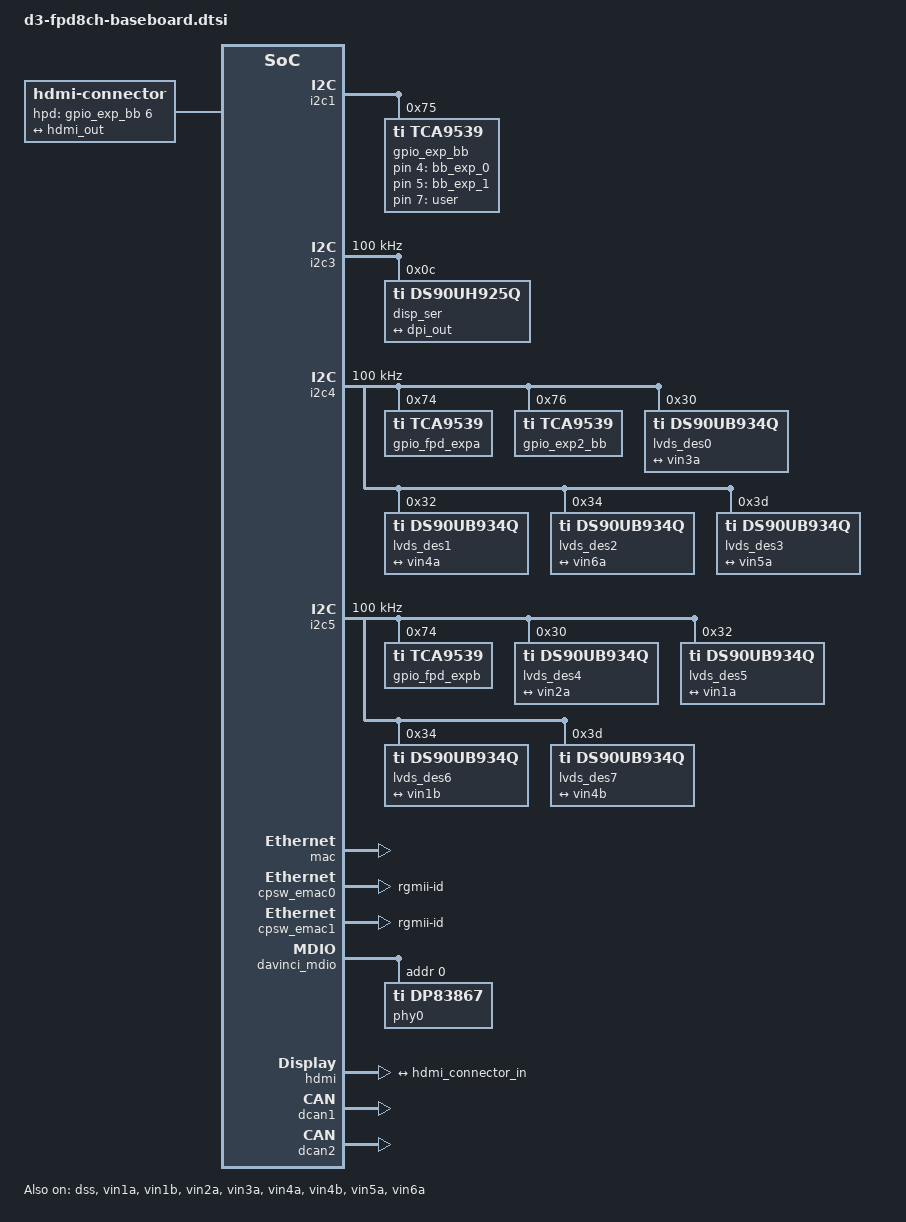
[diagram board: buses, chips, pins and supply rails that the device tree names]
/*
 * Copyright (C) 2016 D3 Engineering
 *
 * Based on am571x-idk.dts
 * Copyright (C) 2015 Texas Instruments Incorporated
 *
 * This program is free software; you can redistribute it and/or modify
 * it under the terms of the GNU General Public License version 2 as
 * published by the Free Software Foundation.
 */

#include <dt-bindings/gpio/gpio.h>
#include <dt-bindings/interrupt-controller/irq.h>
#include <dt-bindings/net/ti-dp83867.h>

/ {
	aliases {
		i2c11 = &lvds_des0;
		i2c12 = &lvds_des1;
		i2c13 = &lvds_des2;
		i2c14 = &lvds_des3;
		i2c15 = &lvds_des4;
		i2c16 = &lvds_des5;
		i2c17 = &lvds_des6;
		i2c18 = &lvds_des7;
		i2c19 = &disp_ser;
	};

	hdmi0: connector@1 {
		compatible = "hdmi-connector";
		label = "hdmi";
		type = "c";
		hpd-gpios = <&gpio_exp_bb 6 GPIO_ACTIVE_HIGH>;

		port {
			hdmi_connector_in: endpoint {
				remote-endpoint = <&hdmi_out>;
			};
		};
	};

	leds {
		compatible = "gpio-leds";
		led_bb_exp_0: led@1 {
			label = "bb_exp_0";
			default-state = "off";
			gpios = <&gpio_exp_bb 4 GPIO_ACTIVE_HIGH>;
		};
		led_bb_exp_1: led@2 {
			label = "bb_exp_1";
			default-state = "off";
			gpios = <&gpio_exp_bb 5 GPIO_ACTIVE_HIGH>;
		};
		led_user: led@3 {
			label = "user";
			default-state = "off";
			gpios = <&gpio_exp_bb 7 GPIO_ACTIVE_HIGH>;
		};
	};
};

&i2c1 {
	gpio_exp_bb: tca9539@75 {
		compatible = "ti,tca9539";
		reg = <0x75>;
		gpio-controller;
		#gpio-cells = <2>;
	};
};

&i2c3 {
	status = "okay";
	clock-frequency = <100000>;

	disp_ser: serializer@0c {
		compatible = "ti,ds90uh925q";
		reg = <0x0c>;

		#address-cells = <1>;
		#size-cells = <0>;	
	};
};

&i2c4 {
	status = "okay";
	clock-frequency = <100000>;

	gpio_fpd_expa: tca9539@74 {
		compatible = "ti,tca9539";
		reg = <0x74>;
		gpio-controller;
		#gpio-cells = <2>;
	};

	gpio_exp2_bb: tca9539@76 {
		compatible = "ti,tca9539";
		reg = <0x76>;
		gpio-controller;
		#gpio-cells = <2>;
	};

	lvds_des0: deserializer@30 {
		compatible = "ti,ds90ub934q";
		reg = <0x30>;

		#address-cells = <1>;
		#size-cells = <0>;
	};

	lvds_des1: deserializer@32 {
		compatible = "ti,ds90ub934q";
		reg = <0x32>;

		#address-cells = <1>;
		#size-cells = <0>;
	};

	lvds_des2: deserializer@34 {
		compatible = "ti,ds90ub934q";
		reg = <0x34>;

		#address-cells = <1>;
		#size-cells = <0>;
	};

	lvds_des3: deserializer@3D {
		compatible = "ti,ds90ub934q";
		reg = <0x3D>;

		#address-cells = <1>;
		#size-cells = <0>;
	};
};

&i2c5 {
	status = "okay";
	clock-frequency = <100000>;

	gpio_fpd_expb: tca9539@74 {
		compatible = "ti,tca9539";
		reg = <0x74>;
		gpio-controller;
		#gpio-cells = <2>;
	};

	lvds_des4: deserializer@30 {
		compatible = "ti,ds90ub934q";
		reg = <0x30>;

		#address-cells = <1>;
		#size-cells = <0>;
	};

	lvds_des5: deserializer@32 {
		compatible = "ti,ds90ub934q";
		reg = <0x32>;

		#address-cells = <1>;
		#size-cells = <0>;
	};

	lvds_des6: deserializer@34 {
		compatible = "ti,ds90ub934q";
		reg = <0x34>;

		#address-cells = <1>;
		#size-cells = <0>;
	};

	lvds_des7: deserializer@3D {
		compatible = "ti,ds90ub934q";
		reg = <0x3D>;

		#address-cells = <1>;
		#size-cells = <0>;
	};
};

&mac {
	status = "okay";
	slaves = <2>;
	active_slave = <1>;
	ti,no-idle;
};

/* cpsw_emac0 needs to be specified because the cpsw driver
   indexes which rgmii to use based on slaves attribute of mac,
   so we need a dummy entry for slave0. */
&cpsw_emac0 {
	phy_id = <&davinci_mdio>, <2>;
	phy-mode = "rgmii-id";
};

&cpsw_emac1 {
	phy_id = <&davinci_mdio>, <0>;
	phy-mode = "rgmii-id";
};

&davinci_mdio {
	status = "okay";

	phy0: dp83867@0 {
		compatible = "ti,dp83867";
		reg = <0x0>;
		ti,rx-internal-delay = <DP83867_RGMIIDCTL_750_PS>;
		ti,tx-internal-delay = <DP83867_RGMIIDCTL_750_PS>;
		ti,fifo-depth = <DP83867_PHYCR_FIFO_DEPTH_4_B_NIB>;
	};
};

&dss {
	status = "okay";

	vdda_video-supply = <&ldoln_reg>;

	port {
		dpi_out: endpoint {
			remote-endpoint = <&fpd_in>;
			data-lines = <24>;
		};
	};
};

&hdmi {
	status = "okay";
	vdda-supply = <&ldo3_reg>;

	port {
		hdmi_out: endpoint {
			remote-endpoint = <&hdmi_connector_in>;
			lanes = <1 0 3 2 5 4 7 6>;
		};
	};
};

&disp_ser {
	ranges = <0x2c 0x2c>;

	disp_des: deserializer@2c {
		compatible = "ti,ds90uh928q";
		reg = <0x2c>;

		gpio-controller;
		#gpio-cells = <1>;

		slave-mode;
	};

	fpd_disp: display@0 {
		compatible = "panel-dpi";

		port {
			fpd_in: endpoint {
				remote-endpoint = <&dpi_out>;
			};
		};

		panel-timing {
			clock-frequency = <9200000>;
			hactive = <480>;
			vactive = <272>;
			hfront-porch = <8>;
			hback-porch = <4>;
			hsync-len = <41>;
			vback-porch = <2>;
			vfront-porch = <4>;
			vsync-len = <10>;

			hsync-active = <0>;
			vsync-active = <0>;
			de-active = <1>;
			pixelclk-active = <1>;
		};
	};
};

&dcan1 {
	status = "okay";
};

&dcan2 {
	status = "okay";
};

&vin1a {
	status = "okay";

	endpoint {
		slave-mode;
		remote-endpoint = <&cam5>;
	};
};

&vin1b {
	status = "okay";

	endpoint {
		slave-mode;
		remote-endpoint = <&cam6>;
	};
};

&vin2a {
	status = "okay";

	endpoint {
		slave-mode;
		remote-endpoint = <&cam4>;
	};
};

&vin3a {
	status = "okay";

	endpoint {
		slave-mode;
		remote-endpoint = <&cam0>;
	};
};

&vin4a {
	status = "okay";

	endpoint {
		slave-mode;
		remote-endpoint = <&cam1>;
	};
};

&vin4b {
	status = "okay";

	endpoint {
		slave-mode;
		remote-endpoint = <&cam7>;
	};
};

&vin5a {
	status = "okay";

	endpoint {
		slave-mode;
		remote-endpoint = <&cam3>;
	};
};

&vin6a {
	status = "okay";

	endpoint {
		slave-mode;
		remote-endpoint = <&cam2>;
	};
};

&lvds_des0 {
	ranges = <0x58 0x60>, /* remote real address, local alias addreass */
		 <0x30 0x61>;

	lvds_ser0: serializer@60 {
		compatible = "ti,ds90ub913aq";
		reg = <0x58>;
		remote-device = <&lvds_des0>;

		slave-mode;
	};

	lvds_cam0: camera@61 {
		compatible = "ov10635";
		reg = <0x30>;
		export-devnode;

		/* power down pin controlled by serializer local gpio0 */

		port {
			cam0: endpoint {
				remote-endpoint = <&vin3a>;
				hsync-active = <1>;
				vsync-active = <1>;
				pclk-sample = <1>;
			};
		};
	};
};

&lvds_des1 {
	ranges = <0x58 0x62>, /* remote real address, local alias addreass */
		 <0x30 0x63>;

	lvds_ser1: serializer@62 {
		compatible = "ti,ds90ub913aq";
		reg = <0x58>;
		remote-device = <&lvds_des1>;

		slave-mode;
	};

	lvds_cam1: camera@63 {
		compatible = "ov10635";
		reg = <0x30>;
		export-devnode;

		/* power down pin controlled by serializer local gpio0 */

		port {
			cam1: endpoint {
				remote-endpoint = <&vin4a>;
				hsync-active = <1>;
				vsync-active = <1>;
				pclk-sample = <1>;
			};
		};
	};
};

&lvds_des2 {
	ranges = <0x58 0x64>, /* remote real address, local alias addreass */
		 <0x30 0x65>;

	lvds_ser2: serializer@64 {
		compatible = "ti,ds90ub913aq";
		reg = <0x58>;
		remote-device = <&lvds_des2>;

		slave-mode;
	};

	lvds_cam2: camera@65 {
		compatible = "ov10635";
		reg = <0x30>;
		export-devnode;

		/* power down pin controlled by serializer local gpio0 */

		port {
			cam2: endpoint {
				remote-endpoint = <&vin6a>;
				hsync-active = <1>;
				vsync-active = <1>;
				pclk-sample = <1>;
			};
		};
	};
};

&lvds_des3 {
	ranges = <0x58 0x68>, /* remote real address, local alias addreass */
		 <0x30 0x69>;

	lvds_ser3: serializer@68 {
		compatible = "ti,ds90ub913aq";
		reg = <0x58>;
		remote-device = <&lvds_des3>;

		slave-mode;
	};

	lvds_cam3: camera@69 {
		compatible = "ov10635";
		reg = <0x30>;
		export-devnode;

		/* power down pin controlled by serializer local gpio0 */

		port {
			cam3: endpoint {
				remote-endpoint = <&vin5a>;
				hsync-active = <1>;
				vsync-active = <1>;
				pclk-sample = <1>;
			};
		};
	};
};

&lvds_des4 {
	ranges = <0x58 0x60>, /* remote real address, local alias addreass */
		 <0x30 0x61>;

	lvds_ser4: serializer@60 {
		compatible = "ti,ds90ub913aq";
		reg = <0x58>;
		remote-device = <&lvds_des4>;

		slave-mode;
	};

	lvds_cam4: camera@61 {
		compatible = "ov10635";
		reg = <0x30>;
		export-devnode;

		/* power down pin controlled by serializer local gpio0 */

		port {
			cam4: endpoint {
				remote-endpoint = <&vin2a>;
				hsync-active = <1>;
				vsync-active = <1>;
				pclk-sample = <1>;
			};
		};
	};
};

&lvds_des5 {
	ranges = <0x58 0x62>, /* remote real address, local alias addreass */
		 <0x30 0x63>;

	lvds_ser5: serializer@62 {
		compatible = "ti,ds90ub913aq";
		reg = <0x58>;
		remote-device = <&lvds_des5>;

		slave-mode;
	};

	lvds_cam5: camera@63 {
		compatible = "ov10635";
		reg = <0x30>;
		export-devnode;

		/* power down pin controlled by serializer local gpio0 */

		port {
			cam5: endpoint {
				remote-endpoint = <&vin1a>;
				hsync-active = <1>;
				vsync-active = <1>;
				pclk-sample = <1>;
			};
		};
	};
};

&lvds_des6 {
	ranges = <0x58 0x64>, /* remote real address, local alias addreass */
		 <0x30 0x65>;

	lvds_ser6: serializer@64 {
		compatible = "ti,ds90ub913aq";
		reg = <0x58>;
		remote-device = <&lvds_des6>;

		slave-mode;
	};

	lvds_cam6: camera@65 {
		compatible = "ov10635";
		reg = <0x30>;
		export-devnode;

		/* power down pin controlled by serializer local gpio0 */

		port {
			cam6: endpoint {
				remote-endpoint = <&vin1b>;
				hsync-active = <1>;
				vsync-active = <1>;
				pclk-sample = <1>;
			};
		};
	};
};

&lvds_des7 {
	ranges = <0x58 0x68>, /* remote real address, local alias addreass */
		 <0x30 0x69>;

	lvds_ser7: serializer@68 {
		compatible = "ti,ds90ub913aq";
		reg = <0x58>;
		remote-device = <&lvds_des7>;

		slave-mode;
	};

	lvds_cam7: camera@69 {
		compatible = "ov10635";
		reg = <0x30>;
		export-devnode;

		/* power down pin controlled by serializer local gpio0 */

		port {
			cam7: endpoint {
				remote-endpoint = <&vin4b>;
				hsync-active = <1>;
				vsync-active = <1>;
				pclk-sample = <1>;
			};
		};
	};
};
